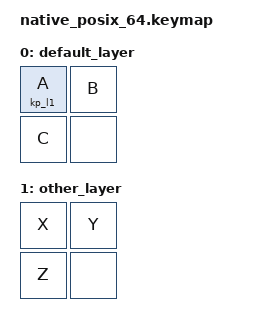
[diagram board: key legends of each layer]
#include <dt-bindings/zmk/keys.h>
#include <behaviors.dtsi>
#include <dt-bindings/zmk/kscan_mock.h>

/ {
    macros {
        kp_l1: kp_l1 {
            compatible = "zmk,behavior-macro-one-param";
            #binding-cells = <1>;
            wait-ms = <5>;
            tap-ms = <5>;
            bindings = <&macro_param_1to1>,
                       <&macro_tap &kp MACRO_PLACEHOLDER>,
                       <&macro_press &mo 1>,
                       <&macro_pause_for_release>,
                       <&macro_release &mo 1>;
        };
    };

    keymap {
        compatible = "zmk,keymap";

        default_layer {
            bindings = <&kp_l1 A &kp B
                        &kp C &none>;
        };

        other_layer {
            bindings = <&kp X &kp Y
                        &kp Z &none>;
        };
    };
};

&kscan {
    events = <ZMK_MOCK_PRESS(0,0,20)   // press macro (taps A)
              ZMK_MOCK_PRESS(0,1,20)   // press Y
              ZMK_MOCK_RELEASE(0,1,20) // release Y
              ZMK_MOCK_RELEASE(0,0,20) // release macro
              ZMK_MOCK_PRESS(1,0,10)   // press C
              ZMK_MOCK_RELEASE(1,0,10) // release C
             >;
};
